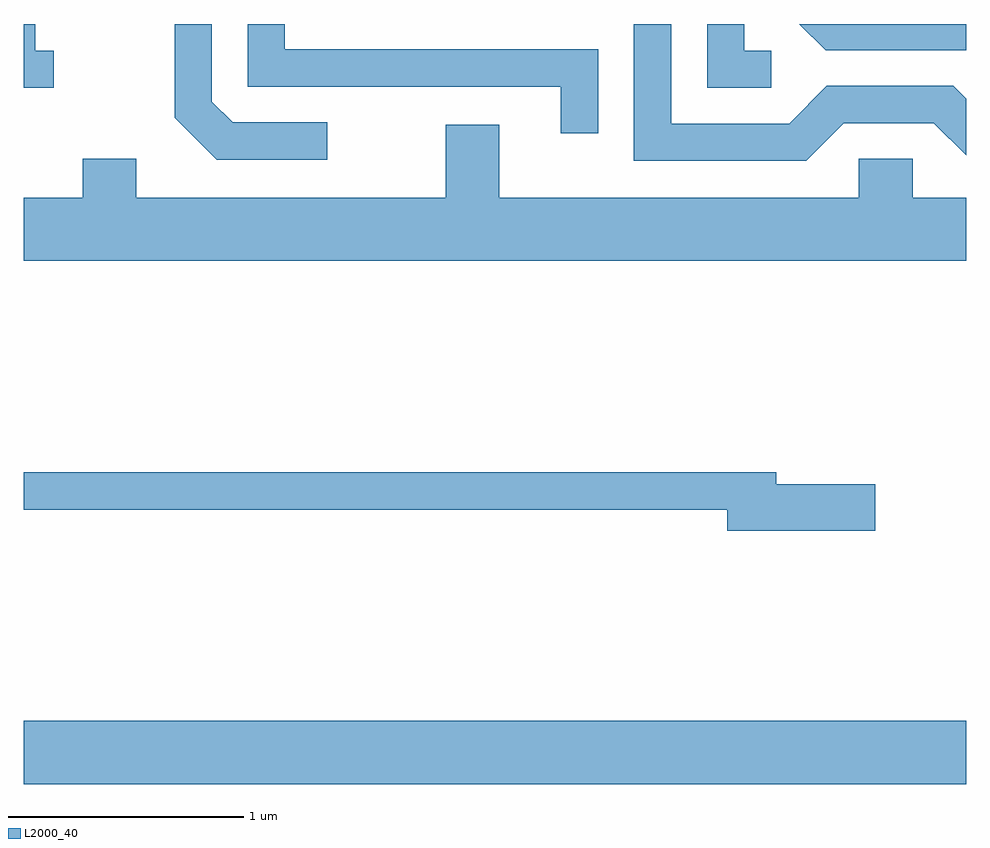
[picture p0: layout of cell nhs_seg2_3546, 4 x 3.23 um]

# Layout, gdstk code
import gdstk
lib = gdstk.Library(unit=1e-6, precision=1e-09)
def R(c, l, rs):  # rectangles x0, y0, x1, y1
    for r in rs: c.add(gdstk.rectangle(r[:2], r[2:], *l))
def P(c, l, *ps):  # polygons
    for p in ps: c.add(gdstk.Polygon(p, *l))
L2000_40 = (2000, 40)

nhs_seg2_3546 = lib.new_cell('nhs_seg2_3546')
R(nhs_seg2_3546, L2000_40, [(289.611,1010.576,293.611,1010.844)])
P(nhs_seg2_3546, L2000_40, [(293.611,1013.802),(292.903,1013.802),(293.014,1013.691),(293.611,1013.691)],
  [(293.092,1013.381),(293.474,1013.381),(293.611,1013.244),(293.611,1013.485),(293.557,1013.539),(293.019,1013.539),(292.859,1013.379),(292.359,1013.379),(292.359,1013.802),(292.201,1013.802),(292.201,1013.221),(292.932,1013.221)],
  [(289.738,1013.689),(289.659,1013.689),(289.659,1013.802),(289.611,1013.802),(289.611,1013.531),(289.738,1013.531)],
  [(292.049,1013.694),(290.719,1013.694),(290.719,1013.802),(290.561,1013.802),(290.561,1013.536),(291.891,1013.536),(291.891,1013.338),(292.049,1013.338)],
  [(292.783,1013.689),(292.669,1013.689),(292.669,1013.802),(292.511,1013.802),(292.511,1013.531),(292.783,1013.531)],
  [(290.898,1013.384),(290.497,1013.384),(290.409,1013.472),(290.409,1013.802),(290.251,1013.802),(290.251,1013.404),(290.429,1013.226),(290.898,1013.226)],
  [(293.611,1013.064),(293.384,1013.064),(293.384,1013.229),(293.156,1013.229),(293.156,1013.064),(291.629,1013.064),(291.629,1013.374),(291.401,1013.374),(291.401,1013.064),(290.089,1013.064),(290.089,1013.229),(289.861,1013.229),(289.861,1013.064),(289.611,1013.064),(289.611,1012.796),(293.611,1012.796)],
  [(293.224,1011.849),(292.804,1011.849),(292.804,1011.899),(289.611,1011.899),(289.611,1011.741),(292.596,1011.741),(292.596,1011.651),(293.224,1011.651)])

lib.write_gds('nhs_seg2_3546.gds')
